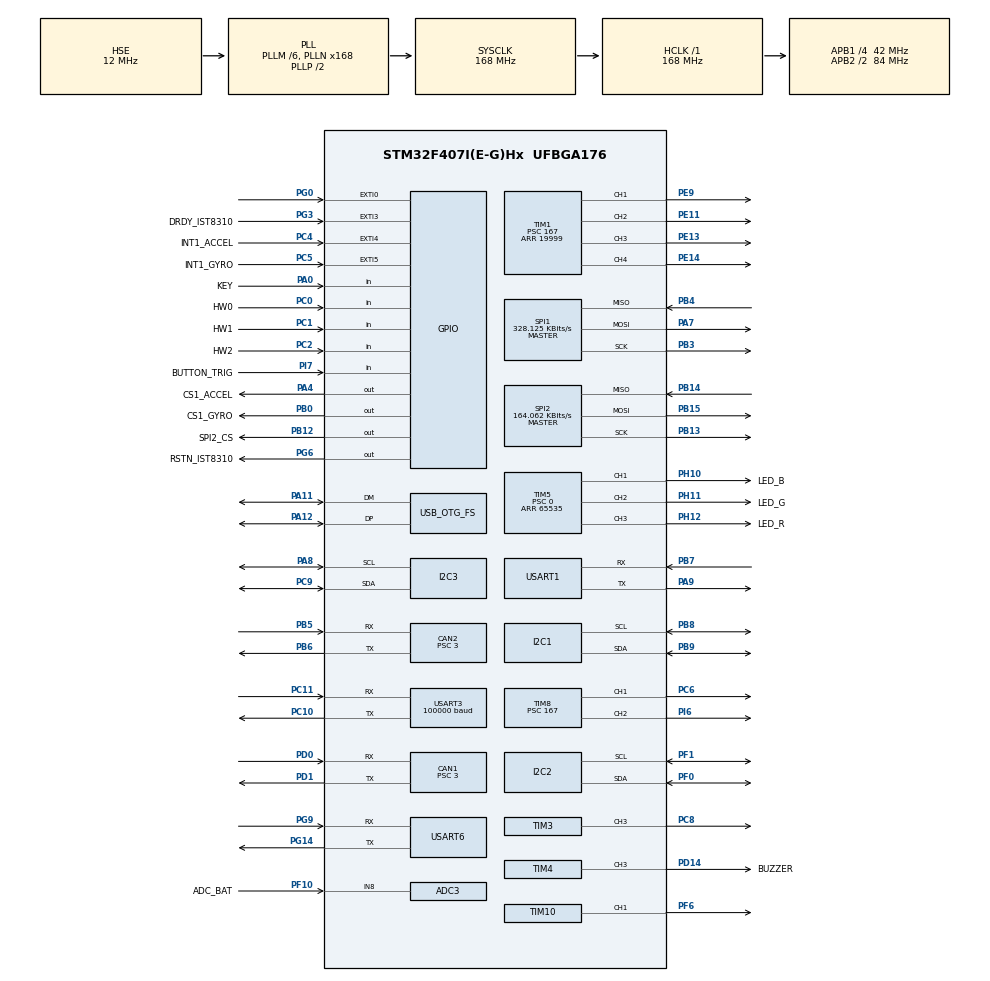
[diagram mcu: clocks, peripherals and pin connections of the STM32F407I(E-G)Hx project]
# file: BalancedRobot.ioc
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ADC1.Channel-0\#ChannelRegularConversion=ADC_CHANNEL_TEMPSENSOR
ADC1.ClockPrescaler=ADC_CLOCK_SYNC_PCLK_DIV6
ADC1.NbrOfConversionFlag=1
ADC1.Rank-0\#ChannelRegularConversion=1
ADC1.SamplingTime-0\#ChannelRegularConversion=ADC_SAMPLETIME_3CYCLES
ADC1.master=1
ADC3.Channel-0\#ChannelRegularConversion=ADC_CHANNEL_8
ADC3.ClockPrescaler=ADC_CLOCK_SYNC_PCLK_DIV6
ADC3.NbrOfConversionFlag=1
ADC3.Rank-0\#ChannelRegularConversion=1
ADC3.SamplingTime-0\#ChannelRegularConversion=ADC_SAMPLETIME_3CYCLES
CAN1.BS1=CAN_BS1_10TQ
CAN1.BS2=CAN_BS2_3TQ
CAN1.CalculateTimeQuantum=71.42857142857143
CAN1.Prescaler=3
CAN2.BS1=CAN_BS1_10TQ
CAN2.BS2=CAN_BS2_3TQ
CAN2.CalculateTimeQuantum=71.42857142857143
CAN2.Prescaler=3
Dma.I2C2_TX.2.Direction=DMA_MEMORY_TO_PERIPH
Dma.I2C2_TX.2.FIFOMode=DMA_FIFOMODE_DISABLE
Dma.I2C2_TX.2.Instance=DMA1_Stream7
Dma.I2C2_TX.2.MemDataAlignment=DMA_MDATAALIGN_BYTE
Dma.I2C2_TX.2.MemInc=DMA_MINC_ENABLE
Dma.I2C2_TX.2.Mode=DMA_NORMAL
Dma.I2C2_TX.2.PeriphDataAlignment=DMA_PDATAALIGN_BYTE
Dma.I2C2_TX.2.PeriphInc=DMA_PINC_DISABLE
Dma.I2C2_TX.2.Priority=DMA_PRIORITY_HIGH
Dma.Request0=SPI1_RX
Dma.Request1=SPI1_TX
Dma.Request2=I2C2_TX
Dma.Request3=USART3_RX
Dma.Request4=USART6_RX
Dma.Request5=USART6_TX
Dma.Request6=USART1_TX
Dma.SPI1_RX.0.Direction=DMA_PERIPH_TO_MEMORY
Dma.SPI1_RX.0.FIFOMode=DMA_FIFOMODE_DISABLE
Dma.SPI1_RX.0.Instance=DMA2_Stream2
Dma.SPI1_RX.0.MemDataAlignment=DMA_MDATAALIGN_BYTE
Dma.SPI1_RX.0.MemInc=DMA_MINC_ENABLE
Dma.SPI1_RX.0.Mode=DMA_NORMAL
Dma.SPI1_RX.0.PeriphDataAlignment=DMA_PDATAALIGN_BYTE
Dma.SPI1_RX.0.PeriphInc=DMA_PINC_DISABLE
Dma.SPI1_RX.0.Priority=DMA_PRIORITY_VERY_HIGH
Dma.SPI1_TX.1.Direction=DMA_MEMORY_TO_PERIPH
Dma.SPI1_TX.1.FIFOMode=DMA_FIFOMODE_DISABLE
Dma.SPI1_TX.1.Instance=DMA2_Stream3
Dma.SPI1_TX.1.MemDataAlignment=DMA_MDATAALIGN_BYTE
Dma.SPI1_TX.1.MemInc=DMA_MINC_ENABLE
Dma.SPI1_TX.1.Mode=DMA_NORMAL
Dma.SPI1_TX.1.PeriphDataAlignment=DMA_PDATAALIGN_BYTE
Dma.SPI1_TX.1.PeriphInc=DMA_PINC_DISABLE
Dma.SPI1_TX.1.Priority=DMA_PRIORITY_HIGH
Dma.USART1_TX.6.Direction=DMA_MEMORY_TO_PERIPH
Dma.USART1_TX.6.FIFOMode=DMA_FIFOMODE_DISABLE
Dma.USART1_TX.6.Instance=DMA2_Stream7
Dma.USART1_TX.6.MemDataAlignment=DMA_MDATAALIGN_BYTE
Dma.USART1_TX.6.MemInc=DMA_MINC_ENABLE
Dma.USART1_TX.6.Mode=DMA_NORMAL
Dma.USART1_TX.6.PeriphDataAlignment=DMA_PDATAALIGN_BYTE
Dma.USART1_TX.6.PeriphInc=DMA_PINC_DISABLE
Dma.USART1_TX.6.Priority=DMA_PRIORITY_MEDIUM
Dma.USART3_RX.3.Direction=DMA_PERIPH_TO_MEMORY
Dma.USART3_RX.3.FIFOMode=DMA_FIFOMODE_DISABLE
Dma.USART3_RX.3.Instance=DMA1_Stream1
Dma.USART3_RX.3.MemDataAlignment=DMA_MDATAALIGN_BYTE
Dma.USART3_RX.3.MemInc=DMA_MINC_ENABLE
Dma.USART3_RX.3.Mode=DMA_NORMAL
Dma.USART3_RX.3.PeriphDataAlignment=DMA_PDATAALIGN_BYTE
Dma.USART3_RX.3.PeriphInc=DMA_PINC_DISABLE
Dma.USART3_RX.3.Priority=DMA_PRIORITY_HIGH
Dma.USART6_RX.4.Direction=DMA_PERIPH_TO_MEMORY
Dma.USART6_RX.4.FIFOMode=DMA_FIFOMODE_DISABLE
Dma.USART6_RX.4.Instance=DMA2_Stream1
Dma.USART6_RX.4.MemDataAlignment=DMA_MDATAALIGN_BYTE
Dma.USART6_RX.4.MemInc=DMA_MINC_ENABLE
Dma.USART6_RX.4.Mode=DMA_NORMAL
Dma.USART6_RX.4.PeriphDataAlignment=DMA_PDATAALIGN_BYTE
Dma.USART6_RX.4.PeriphInc=DMA_PINC_DISABLE
Dma.USART6_RX.4.Priority=DMA_PRIORITY_HIGH
Dma.USART6_TX.5.Direction=DMA_MEMORY_TO_PERIPH
Dma.USART6_TX.5.FIFOMode=DMA_FIFOMODE_DISABLE
Dma.USART6_TX.5.Instance=DMA2_Stream6
Dma.USART6_TX.5.MemDataAlignment=DMA_MDATAALIGN_BYTE
Dma.USART6_TX.5.MemInc=DMA_MINC_ENABLE
Dma.USART6_TX.5.Mode=DMA_NORMAL
Dma.USART6_TX.5.PeriphDataAlignment=DMA_PDATAALIGN_BYTE
Dma.USART6_TX.5.PeriphInc=DMA_PINC_DISABLE
Dma.USART6_TX.5.Priority=DMA_PRIORITY_MEDIUM
FREERTOS.INCLUDE_eTaskGetState=1
FREERTOS.INCLUDE_pcTaskGetTaskName=1
FREERTOS.INCLUDE_uxTaskGetStackHighWaterMark=1
FREERTOS.INCLUDE_vTaskCleanUpResources=1
FREERTOS.INCLUDE_vTaskDelayUntil=1
FREERTOS.INCLUDE_xEventGroupSetBitFromISR=1
FREERTOS.INCLUDE_xQueueGetMutexHolder=1
FREERTOS.INCLUDE_xSemaphoreGetMutexHolder=1
FREERTOS.INCLUDE_xTaskAbortDelay=1
FREERTOS.INCLUDE_xTaskGetCurrentTaskHandle=1
FREERTOS.INCLUDE_xTaskGetHandle=1
FREERTOS.INCLUDE_xTimerPendFunctionCall=1
FREERTOS.Tasks01=test,24,128,test_task,As weak,NULL,Dynamic,NULL,NULL
FREERTOS.configTOTAL_HEAP_SIZE=24576
I2C1.I2C_Mode=I2C_Fast
I2C2.I2C_Mode=I2C_Fast
I2C3.I2C_Mode=I2C_Fast
Mcu.Family=STM32F4
Mcu.Name=STM32F407I(E-G)Hx
Mcu.Package=UFBGA176
NVIC.CAN1_RX0_IRQn=true\:6\:0\:true\:false\:true\:true\:true\:true\:true
NVIC.CAN2_RX0_IRQn=true\:6\:0\:true\:false\:true\:true\:true\:true\:true
NVIC.DMA1_Stream1_IRQn=true\:5\:0\:true\:false\:false\:true\:false\:false\:true
NVIC.DMA1_Stream7_IRQn=true\:5\:0\:true\:false\:false\:true\:false\:true\:true
NVIC.DMA2_Stream1_IRQn=true\:5\:0\:true\:false\:true\:true\:false\:true\:true
NVIC.DMA2_Stream2_IRQn=true\:5\:0\:true\:false\:false\:true\:false\:true\:true
NVIC.DMA2_Stream3_IRQn=true\:5\:0\:true\:false\:false\:true\:false\:true\:true
NVIC.DMA2_Stream6_IRQn=true\:5\:0\:true\:false\:true\:true\:false\:true\:true
NVIC.DMA2_Stream7_IRQn=true\:5\:0\:true\:false\:true\:true\:false\:true\:true
NVIC.EXTI0_IRQn=true\:6\:0\:true\:false\:true\:true\:true\:true\:true
NVIC.EXTI3_IRQn=true\:5\:0\:true\:false\:true\:true\:true\:true\:true
NVIC.EXTI4_IRQn=true\:5\:0\:true\:false\:true\:true\:true\:true\:true
NVIC.EXTI9_5_IRQn=true\:5\:0\:true\:false\:true\:true\:true\:true\:true
NVIC.OTG_FS_IRQn=true\:5\:0\:false\:false\:true\:true\:false\:true\:true
NVIC.PriorityGroup=NVIC_PRIORITYGROUP_4
NVIC.USART3_IRQn=true\:4\:0\:true\:false\:false\:false\:true\:true\:true
NVIC.USART6_IRQn=true\:5\:0\:true\:false\:false\:true\:true\:true\:true
PA0-WKUP.GPIO_Label=KEY
PA0-WKUP.GPIO_PuPd=GPIO_PULLUP
PA0-WKUP.Signal=GPIO_Input
PA11.Mode=Device_Only
PA11.Signal=USB_OTG_FS_DM
PA12.Mode=Device_Only
PA12.Signal=USB_OTG_FS_DP
PA13.Mode=Serial_Wire
PA13.Signal=SYS_JTMS-SWDIO
PA14.Mode=Serial_Wire
PA14.Signal=SYS_JTCK-SWCLK
PA4.GPIO_Label=CS1_ACCEL
PA4.GPIO_PuPd=GPIO_PULLUP
PA4.GPIO_Speed=GPIO_SPEED_FREQ_HIGH
PA4.PinState=GPIO_PIN_SET
PA4.Signal=GPIO_Output
PA7.GPIO_PuPd=GPIO_PULLUP
PA7.Mode=Full_Duplex_Master
PA7.Signal=SPI1_MOSI
PA8.Mode=I2C
PA8.Signal=I2C3_SCL
PA9.Mode=Asynchronous
PA9.Signal=USART1_TX
PB0.GPIO_Label=CS1_GYRO
PB0.GPIO_PuPd=GPIO_PULLUP
PB0.GPIO_Speed=GPIO_SPEED_FREQ_HIGH
PB0.PinState=GPIO_PIN_SET
PB0.Signal=GPIO_Output
PB12.GPIO_Label=SPI2_CS
PB12.GPIO_PuPd=GPIO_PULLUP
PB12.GPIO_Speed=GPIO_SPEED_FREQ_MEDIUM
PB12.PinState=GPIO_PIN_SET
PB12.Signal=GPIO_Output
PB13.GPIO_PuPd=GPIO_PULLUP
PB13.Mode=Full_Duplex_Master
PB13.Signal=SPI2_SCK
PB14.GPIO_PuPd=GPIO_PULLUP
PB14.Mode=Full_Duplex_Master
PB14.Signal=SPI2_MISO
PB15.GPIO_PuPd=GPIO_PULLUP
PB15.Mode=Full_Duplex_Master
PB15.Signal=SPI2_MOSI
PB3.GPIO_PuPd=GPIO_PULLUP
PB3.Mode=Full_Duplex_Master
PB3.Signal=SPI1_SCK
PB4.GPIO_PuPd=GPIO_PULLUP
PB4.Mode=Full_Duplex_Master
PB4.Signal=SPI1_MISO
PB5.Mode=Slave
PB5.Signal=CAN2_RX
PB6.Mode=Slave
PB6.Signal=CAN2_TX
PB7.Mode=Asynchronous
PB7.Signal=USART1_RX
PB8.Mode=I2C
PB8.Signal=I2C1_SCL
PB9.Mode=I2C
PB9.Signal=I2C1_SDA
PC0.GPIO_Label=HW0
PC0.Signal=GPIO_Input
PC1.GPIO_Label=HW1
PC1.Signal=GPIO_Input
PC10.Mode=Asynchronous
PC10.Signal=USART3_TX
PC11.Mode=Asynchronous
PC11.Signal=USART3_RX
PC2.GPIO_Label=HW2
PC2.Signal=GPIO_Input
PC4.GPIO_Label=INT1_ACCEL
PC4.GPIO_ModeDefaultEXTI=GPIO_MODE_IT_FALLING
PC4.GPIO_PuPd=GPIO_PULLUP
PC4.Signal=GPXTI4
PC5.GPIO_Label=INT1_GYRO
PC5.GPIO_ModeDefaultEXTI=GPIO_MODE_IT_FALLING
PC5.GPIO_PuPd=GPIO_PULLUP
PC5.Signal=GPXTI5
PC6.GPIO_PuPd=GPIO_PULLUP
PC6.GPIO_Speed=GPIO_SPEED_FREQ_HIGH
PC6.Signal=S_TIM8_CH1
PC8.GPIO_PuPd=GPIO_PULLUP
PC8.GPIO_Speed=GPIO_SPEED_FREQ_HIGH
PC8.Signal=S_TIM3_CH3
PC9.Mode=I2C
PC9.Signal=I2C3_SDA
PD0.Mode=Master
PD0.Signal=CAN1_RX
PD1.Mode=Master
PD1.Signal=CAN1_TX
PD14.GPIO_Label=BUZZER
PD14.GPIO_PuPd=GPIO_PULLUP
PD14.GPIO_Speed=GPIO_SPEED_FREQ_VERY_HIGH
PD14.Signal=S_TIM4_CH3
PE11.GPIO_PuPd=GPIO_PULLUP
PE11.GPIO_Speed=GPIO_SPEED_FREQ_HIGH
PE11.Signal=S_TIM1_CH2
PE13.GPIO_PuPd=GPIO_PULLUP
PE13.GPIO_Speed=GPIO_SPEED_FREQ_HIGH
PE13.Signal=S_TIM1_CH3
PE14.GPIO_PuPd=GPIO_PULLUP
PE14.GPIO_Speed=GPIO_SPEED_FREQ_HIGH
PE14.Signal=S_TIM1_CH4
PE9.GPIO_PuPd=GPIO_PULLUP
PE9.GPIO_Speed=GPIO_SPEED_FREQ_HIGH
PE9.Signal=S_TIM1_CH1
PF0.Mode=I2C
PF0.Signal=I2C2_SDA
PF1.Mode=I2C
PF1.Signal=I2C2_SCL
PF10.GPIO_Label=ADC_BAT
PF10.Mode=IN8
PF10.Signal=ADC3_IN8
PF6.GPIO_PuPd=GPIO_PULLUP
PF6.GPIO_Speed=GPIO_SPEED_FREQ_HIGH
PF6.Signal=S_TIM10_CH1
PG0.GPIO_ModeDefaultEXTI=GPIO_MODE_IT_FALLING
PG0.GPIO_PuPd=GPIO_PULLUP
PG0.Signal=GPXTI0
PG14.Mode=Asynchronous
PG14.Signal=USART6_TX
PG3.GPIO_Label=DRDY_IST8310
PG3.GPIO_ModeDefaultEXTI=GPIO_MODE_IT_FALLING
PG3.GPIO_PuPd=GPIO_PULLUP
PG3.Signal=GPXTI3
PG6.GPIO_Label=RSTN_IST8310
PG6.GPIO_PuPd=GPIO_PULLUP
PG6.GPIO_Speed=GPIO_SPEED_FREQ_MEDIUM
PG6.PinState=GPIO_PIN_SET
PG6.Signal=GPIO_Output
PG9.Mode=Asynchronous
PG9.Signal=USART6_RX
PH0-OSC_IN.Mode=HSE-External-Oscillator
PH0-OSC_IN.Signal=RCC_OSC_IN
PH1-OSC_OUT.Mode=HSE-External-Oscillator
PH1-OSC_OUT.Signal=RCC_OSC_OUT
PH10.GPIO_Label=LED_B
PH10.GPIO_PuPd=GPIO_PULLUP
PH10.GPIO_Speed=GPIO_SPEED_FREQ_HIGH
PH10.Signal=S_TIM5_CH1
PH11.GPIO_Label=LED_G
PH11.GPIO_PuPd=GPIO_PULLUP
PH11.GPIO_Speed=GPIO_SPEED_FREQ_HIGH
PH11.Signal=S_TIM5_CH2
PH12.GPIO_Label=LED_R
PH12.GPIO_PuPd=GPIO_PULLUP
PH12.GPIO_Speed=GPIO_SPEED_FREQ_HIGH
PH12.Signal=S_TIM5_CH3
PI6.GPIO_PuPd=GPIO_PULLUP
PI6.GPIO_Speed=GPIO_SPEED_FREQ_HIGH
PI6.Signal=S_TIM8_CH2
PI7.GPIO_Label=BUTTON_TRIG
PI7.GPIO_PuPd=GPIO_PULLUP
PI7.Signal=GPIO_Input
ProjectManager.HeapSize=0x2000
ProjectManager.StackSize=0x2000
ProjectManager.TargetToolchain=MDK-ARM V5.32
RCC.48MHZClocksFreq_Value=48000000
RCC.AHBFreq_Value=168000000
RCC.APB1CLKDivider=RCC_HCLK_DIV4
RCC.APB1Freq_Value=42000000
RCC.APB1TimFreq_Value=84000000
RCC.APB2CLKDivider=RCC_HCLK_DIV2
RCC.APB2Freq_Value=84000000
RCC.APB2TimFreq_Value=168000000
RCC.CortexFreq_Value=168000000
RCC.HCLKFreq_Value=168000000
RCC.HSE_VALUE=12000000
RCC.HSI_VALUE=16000000
RCC.LSE_VALUE=32768
RCC.PLLM=6
RCC.PLLN=168
RCC.PLLQ=7
RCC.RCC_RTC_Clock_SourceVirtual=RCC_RTCCLKSOURCE_HSE_DIV30
RCC.RCC_RTC_Clock_Source_FROM_HSE=RCC_RTCCLKSOURCE_HSE_DIV30
RCC.SYSCLKFreq_VALUE=168000000
RCC.SYSCLKSource=RCC_SYSCLKSOURCE_PLLCLK
RCC.VCOOutputFreq_Value=336000000
RTC.AsynchPrediv=124
RTC.SynchPrediv=3199
SH.S_TIM10_CH1.0=TIM10_CH1,PWM Generation1 CH1
SH.S_TIM1_CH1.0=TIM1_CH1,PWM Generation1 CH1
SH.S_TIM1_CH2.0=TIM1_CH2,PWM Generation2 CH2
SH.S_TIM1_CH3.0=TIM1_CH3,PWM Generation3 CH3
SH.S_TIM1_CH4.0=TIM1_CH4,PWM Generation4 CH4
SH.S_TIM3_CH3.0=TIM3_CH3,PWM Generation3 CH3
SH.S_TIM4_CH3.0=TIM4_CH3,PWM Generation3 CH3
SH.S_TIM5_CH1.0=TIM5_CH1,PWM Generation1 CH1
SH.S_TIM5_CH2.0=TIM5_CH2,PWM Generation2 CH2
SH.S_TIM5_CH3.0=TIM5_CH3,PWM Generation3 CH3
SH.S_TIM8_CH1.0=TIM8_CH1,PWM Generation1 CH1
SH.S_TIM8_CH2.0=TIM8_CH2,PWM Generation2 CH2
SPI1.BaudRatePrescaler=SPI_BAUDRATEPRESCALER_256
SPI1.CLKPhase=SPI_PHASE_2EDGE
SPI1.CLKPolarity=SPI_POLARITY_HIGH
SPI1.CalculateBaudRate=328.125 KBits/s
SPI1.Direction=SPI_DIRECTION_2LINES
SPI1.Mode=SPI_MODE_MASTER
SPI1.VirtualType=VM_MASTER
SPI2.BaudRatePrescaler=SPI_BAUDRATEPRESCALER_256
SPI2.CLKPhase=SPI_PHASE_2EDGE
SPI2.CLKPolarity=SPI_POLARITY_HIGH
SPI2.CalculateBaudRate=164.062 KBits/s
SPI2.Direction=SPI_DIRECTION_2LINES
SPI2.Mode=SPI_MODE_MASTER
SPI2.VirtualType=VM_MASTER
TIM1.Channel-PWM\ Generation1\ CH1=TIM_CHANNEL_1
TIM1.Channel-PWM\ Generation2\ CH2=TIM_CHANNEL_2
TIM1.Channel-PWM\ Generation3\ CH3=TIM_CHANNEL_3
TIM1.Channel-PWM\ Generation4\ CH4=TIM_CHANNEL_4
TIM1.Period=19999
TIM1.Prescaler=167
TIM1.Pulse-PWM\ Generation1\ CH1=1000
TIM1.Pulse-PWM\ Generation2\ CH2=1000
TIM1.Pulse-PWM\ Generation3\ CH3=1000
TIM1.Pulse-PWM\ Generation4\ CH4=1000
TIM10.Channel=TIM_CHANNEL_1
TIM10.Period=4999
TIM3.Channel-PWM\ Generation3\ CH3=TIM_CHANNEL_3
TIM3.Period=8399
TIM4.Channel-PWM\ Generation3\ CH3=TIM_CHANNEL_3
TIM4.Period=65535
TIM4.Prescaler=167
TIM5.Channel-PWM\ Generation1\ CH1=TIM_CHANNEL_1
TIM5.Channel-PWM\ Generation2\ CH2=TIM_CHANNEL_2
TIM5.Channel-PWM\ Generation3\ CH3=TIM_CHANNEL_3
TIM5.Period=65535
TIM5.Prescaler=0
TIM8.Channel-PWM\ Generation1\ CH1=TIM_CHANNEL_1
TIM8.Channel-PWM\ Generation2\ CH2=TIM_CHANNEL_2
TIM8.Period=19999
TIM8.Prescaler=167
TIM8.Pulse-PWM\ Generation1\ CH1=1000
TIM8.Pulse-PWM\ Generation2\ CH2=1000
USART1.VirtualMode=VM_ASYNC
USART3.BaudRate=100000
USART3.Parity=PARITY_EVEN
USART3.VirtualMode=VM_ASYNC
USART6.VirtualMode=VM_ASYNC
USB_DEVICE.CLASS_NAME_FS=CDC
USB_DEVICE.VirtualMode-CDC_FS=Cdc
USB_DEVICE.VirtualModeFS=Cdc_FS
USB_OTG_FS.VirtualMode=Device_Only
VP_ADC1_TempSens_Input.Mode=IN-TempSens
VP_ADC1_Vref_Input.Mode=IN-Vrefint
VP_CRC_VS_CRC.Mode=CRC_Activate
VP_FREERTOS_VS_CMSIS_V1.Mode=CMSIS_V1
VP_RNG_VS_RNG.Mode=RNG_Activate
VP_RTC_VS_RTC_Activate.Mode=RTC_Enabled
VP_TIM10_VS_ClockSourceINT.Mode=Enable_Timer
VP_TIM1_VS_ClockSourceINT.Mode=Internal
VP_TIM3_VS_ClockSourceINT.Mode=Internal
VP_TIM4_VS_ClockSourceINT.Mode=Internal
VP_TIM5_VS_ClockSourceINT.Mode=Internal
VP_TIM8_VS_ClockSourceINT.Mode=Internal
VP_USB_DEVICE_VS_USB_DEVICE_CDC_FS.Mode=CDC_FS
board=custom

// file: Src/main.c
/* USER CODE BEGIN Header */
/**
  ******************************************************************************
  * @file           : main.c
  * @brief          : Main program body
  ******************************************************************************
  * @attention
  *
  * <h2><center>&copy; Copyright (c) 2023 STMicroelectronics.
  * All rights reserved.</center></h2>
  *
  * This software component is licensed by ST under Ultimate Liberty license
  * SLA0044, the "License"; You may not use this file except in compliance with
  * the License. You may obtain a copy of the License at:
  *                             www.st.com/SLA0044
  *
  ******************************************************************************
  */
/* USER CODE END Header */

#include "main.h"
#include "cmsis_os.h"
#include "adc.h"
#include "can.h"
#include "crc.h"
#include "dma.h"
#include "i2c.h"
#include "rng.h"
#include "rtc.h"
#include "spi.h"
#include "tim.h"
#include "usart.h"
#include "usb_device.h"
#include "gpio.h"

/* USER CODE BEGIN Includes */
#include "remote_control.h"
#include "Bsp_can.h"
#include "bsp_delay.h"
/* USER CODE END Includes */

void SystemClock_Config(void);
void MX_FREERTOS_Init(void);

int main(void)
{

  /* MCU Configuration--------------------------------------------------------*/

  /* Reset of all peripherals, Initializes the Flash interface and the Systick. */
  HAL_Init();

  /* Configure the system clock */
  SystemClock_Config();

  /* Initialize all configured peripherals */
  MX_GPIO_Init();
  MX_DMA_Init();
  MX_ADC1_Init();
  MX_ADC3_Init();
  MX_CAN1_Init();
  MX_CAN2_Init();
  MX_I2C1_Init();
  MX_SPI1_Init();
  MX_TIM4_Init();
  MX_TIM5_Init();
  MX_USART3_UART_Init();
  MX_TIM8_Init();
  MX_CRC_Init();
  MX_RNG_Init();
  MX_I2C2_Init();
  MX_I2C3_Init();
  MX_RTC_Init();
  MX_SPI2_Init();
  MX_TIM1_Init();
  MX_TIM3_Init();
  MX_TIM10_Init();
  MX_USART1_UART_Init();
  MX_USART6_UART_Init();
  /* USER CODE BEGIN 2 */
  delay_init();
  remote_control_init();
  CanFilterInit();
  /* USER CODE END 2 */

  /* Call init function for freertos objects (in freertos.c) */
  MX_FREERTOS_Init();

  /* Start scheduler */
  osKernelStart();

  /* We should never get here as control is now taken by the scheduler */

  /* Infinite loop */
  while (1)
  {

  }
}

void SystemClock_Config(void)
{
  RCC_OscInitTypeDef RCC_OscInitStruct = {0};
  RCC_ClkInitTypeDef RCC_ClkInitStruct = {0};
  RCC_PeriphCLKInitTypeDef PeriphClkInitStruct = {0};

  /** Configure the main internal regulator output voltage
  */
  __HAL_RCC_PWR_CLK_ENABLE();
  __HAL_PWR_VOLTAGESCALING_CONFIG(PWR_REGULATOR_VOLTAGE_SCALE1);
  /** Initializes the CPU, AHB and APB busses clocks
  */
  RCC_OscInitStruct.OscillatorType = RCC_OSCILLATORTYPE_HSE;
  RCC_OscInitStruct.HSEState = RCC_HSE_ON;
  RCC_OscInitStruct.PLL.PLLState = RCC_PLL_ON;
  RCC_OscInitStruct.PLL.PLLSource = RCC_PLLSOURCE_HSE;
  RCC_OscInitStruct.PLL.PLLM = 6;
  RCC_OscInitStruct.PLL.PLLN = 168;
  RCC_OscInitStruct.PLL.PLLP = RCC_PLLP_DIV2;
  RCC_OscInitStruct.PLL.PLLQ = 7;
  if (HAL_RCC_OscConfig(&RCC_OscInitStruct) != HAL_OK)
  {
    Error_Handler();
  }
  /** Initializes the CPU, AHB and APB busses clocks
  */
  RCC_ClkInitStruct.ClockType = RCC_CLOCKTYPE_HCLK|RCC_CLOCKTYPE_SYSCLK
                              |RCC_CLOCKTYPE_PCLK1|RCC_CLOCKTYPE_PCLK2;
  RCC_ClkInitStruct.SYSCLKSource = RCC_SYSCLKSOURCE_PLLCLK;
  RCC_ClkInitStruct.AHBCLKDivider = RCC_SYSCLK_DIV1;
  RCC_ClkInitStruct.APB1CLKDivider = RCC_HCLK_DIV4;
  RCC_ClkInitStruct.APB2CLKDivider = RCC_HCLK_DIV2;

  if (HAL_RCC_ClockConfig(&RCC_ClkInitStruct, FLASH_LATENCY_5) != HAL_OK)
  {
    Error_Handler();
  }
  PeriphClkInitStruct.PeriphClockSelection = RCC_PERIPHCLK_RTC;
  PeriphClkInitStruct.RTCClockSelection = RCC_RTCCLKSOURCE_HSE_DIV30;
  if (HAL_RCCEx_PeriphCLKConfig(&PeriphClkInitStruct) != HAL_OK)
  {
    Error_Handler();
  }
}

void Error_Handler(void)
{
}

/************************ (C) COPYRIGHT STMicroelectronics *****END OF FILE****/

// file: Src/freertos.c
/* USER CODE BEGIN Header */
/**
  ******************************************************************************
  * File Name          : freertos.c
  * Description        : Code for freertos applications
  ******************************************************************************
  * @attention
  *
  * <h2><center>&copy; Copyright (c) 2023 STMicroelectronics.
  * All rights reserved.</center></h2>
  *
  * This software component is licensed by ST under Ultimate Liberty license
  * SLA0044, the "License"; You may not use this file except in compliance with
  * the License. You may obtain a copy of the License at:
  *                             www.st.com/SLA0044
  *
  ******************************************************************************
  */
/* USER CODE END Header */

#include "FreeRTOS.h"
#include "task.h"
#include "main.h"
#include "cmsis_os.h"

/* USER CODE BEGIN Includes */
#include "Chassis_task.h"
#include "Gimbal_task.h"
#include "INS_task.h"
/* USER CODE END Includes */

osThreadId testHandle;

/* USER CODE BEGIN FunctionPrototypes */
osThreadId ChassisTaskHandle;
osThreadId GimbalTaskHandle;
osThreadId InsTaskHandle;
/* USER CODE END FunctionPrototypes */

void test_task(void const * argument);

extern void MX_USB_DEVICE_Init(void);
void MX_FREERTOS_Init(void); /* (MISRA C 2004 rule 8.1) */

/* GetIdleTaskMemory prototype (linked to static allocation support) */
void vApplicationGetIdleTaskMemory( StaticTask_t **ppxIdleTaskTCBBuffer, StackType_t **ppxIdleTaskStackBuffer, uint32_t *pulIdleTaskStackSize );

/* GetTimerTaskMemory prototype (linked to static allocation support) */
void vApplicationGetTimerTaskMemory( StaticTask_t **ppxTimerTaskTCBBuffer, StackType_t **ppxTimerTaskStackBuffer, uint32_t *pulTimerTaskStackSize );

/* USER CODE BEGIN GET_IDLE_TASK_MEMORY */
static StaticTask_t xIdleTaskTCBBuffer;
static StackType_t xIdleStack[configMINIMAL_STACK_SIZE];

void vApplicationGetIdleTaskMemory( StaticTask_t **ppxIdleTaskTCBBuffer, StackType_t **ppxIdleTaskStackBuffer, uint32_t *pulIdleTaskStackSize )
{
  *ppxIdleTaskTCBBuffer = &xIdleTaskTCBBuffer;
  *ppxIdleTaskStackBuffer = &xIdleStack[0];
  *pulIdleTaskStackSize = configMINIMAL_STACK_SIZE;
  /* place for user code */
}
/* USER CODE END GET_IDLE_TASK_MEMORY */

/* USER CODE BEGIN GET_TIMER_TASK_MEMORY */
static StaticTask_t xTimerTaskTCBBuffer;
static StackType_t xTimerStack[configTIMER_TASK_STACK_DEPTH];

void vApplicationGetTimerTaskMemory( StaticTask_t **ppxTimerTaskTCBBuffer, StackType_t **ppxTimerTaskStackBuffer, uint32_t *pulTimerTaskStackSize )
{
  *ppxTimerTaskTCBBuffer = &xTimerTaskTCBBuffer;
  *ppxTimerTaskStackBuffer = &xTimerStack[0];
  *pulTimerTaskStackSize = configTIMER_TASK_STACK_DEPTH;
  /* place for user code */
}
/* USER CODE END GET_TIMER_TASK_MEMORY */

void MX_FREERTOS_Init(void) {

  /* Create the thread(s) */
  /* definition and creation of test */
  osThreadDef(test, test_task, osPriorityNormal, 0, 128);
  testHandle = osThreadCreate(osThread(test), NULL);

  /* USER CODE BEGIN RTOS_THREADS */
  /* add threads, ... */
  osThreadDef(Chassis, ChassisTask, osPriorityAboveNormal, 0, 256);
  ChassisTaskHandle = osThreadCreate(osThread(Chassis), NULL);
  osThreadDef(Gimbal, GimbalTask, osPriorityNormal, 0, 256);
  GimbalTaskHandle = osThreadCreate(osThread(Gimbal), NULL);
  osThreadDef(imuTask, INS_task, osPriorityRealtime, 0, 1024);
  InsTaskHandle = osThreadCreate(osThread(imuTask), NULL);
  /* USER CODE END RTOS_THREADS */

}

__weak void test_task(void const * argument)
{
  /* init code for USB_DEVICE */
  MX_USB_DEVICE_Init();

  for(;;)
  {
    osDelay(1);
  }
}

/************************ (C) COPYRIGHT STMicroelectronics *****END OF FILE****/
